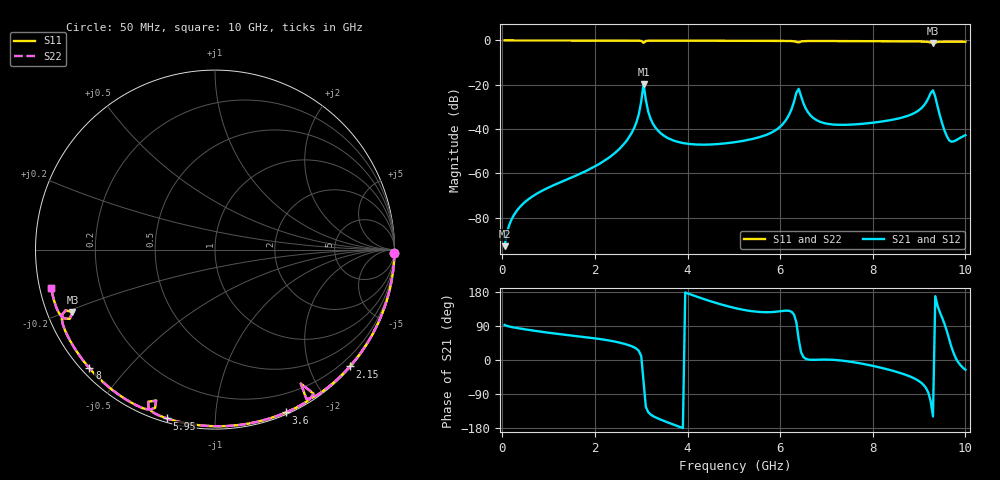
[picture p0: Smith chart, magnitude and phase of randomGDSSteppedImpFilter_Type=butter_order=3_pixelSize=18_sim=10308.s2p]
! freq	dB(S11)	phase(S11)	dB(S12)	phase(S12)
!  dB(S21)	phase(S21)	dB(S22)	phase(S22)
!S-par simulation data
#  GHz  S  DB  R 50
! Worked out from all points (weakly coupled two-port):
!   200 points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, 50 MHz to 10 GHz, reference 50 ohm
!   highest |S21| = -19.61 dB at 3.05 GHz (marker M1); lowest = -92.9 dB at 50 MHz (marker M2)
!   lowest |S11| = -1.2 dB at 9.3 GHz (marker M3), VSWR 14.06, Z = 3.71 - j10.4 ohm
!   |S11| at or under -10 dB: nowhere
!   |S22| runs from -1.2 to 0.0 dB; largest |S21 - S12| = 0
!   S11 on the Smith chart (normalised r, x): 50 MHz: open; 2.15 GHz: 0.02, -2.68; 3.6 GHz: 0.02, -1.53; 5.95 GHz: 0.02, -0.76; 8 GHz: 0.02, -0.40; 10 GHz: 0.03, -0.11
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0.05  -0.00 -1.0  -92.89 92.6  -92.89 92.6  -0.00 -1.0
0.75  -0.01 -14.5  -69.13 76.1  -69.13 76.1  -0.01 -14.5
1.75  -0.04 -33.5  -59.50 61.0  -59.50 61.0  -0.04 -33.5
2.15  -0.05 -40.9  -55.01 54.6  -55.01 54.6  -0.05 -40.9
2.8  -0.07 -53.2  -41.55 36.0  -41.55 36.0  -0.07 -53.2
2.95  -0.11 -56.6  -33.15 23.7  -33.15 23.7  -0.11 -56.6
3.05  -1.05 -57.4  -19.61 -55.1  -19.61 -55.1  -1.05 -57.4
3.2  -0.10 -58.8  -35.25 -143.5  -35.25 -143.5  -0.10 -58.8
3.4  -0.09 -62.8  -41.53 -156.3  -41.53 -156.3  -0.09 -62.8
3.6  -0.09 -66.5  -44.34 -166.0  -44.34 -166.0  -0.09 -66.5
5.05  -0.14 -91.1  -45.84 136.4  -45.84 136.4  -0.14 -91.0
5.95  -0.19 -105.8  -39.81 128.0  -39.81 128.0  -0.19 -105.8
6.2  -0.25 -110.4  -33.24 129.6  -33.24 129.6  -0.25 -110.4
6.4  -0.89 -111.3  -21.84 55.0  -21.84 55.0  -0.88 -111.3
6.7  -0.25 -116.2  -34.73 0.5  -34.73 0.5  -0.25 -116.2
7.15  -0.26 -123.5  -37.98 0.4  -37.98 0.4  -0.26 -123.5
8  -0.33 -136.7  -37.15 -15.5  -37.15 -15.5  -0.33 -136.7
8.35  -0.37 -142.1  -36.10 -25.7  -36.10 -25.7  -0.37 -142.1
9  -0.47 -152.7  -31.44 -55.8  -31.44 -55.8  -0.47 -152.7
9.3  -1.24 -156.3  -22.54 -148.9  -22.54 -148.9  -1.25 -156.3
9.65  -0.53 -160.9  -45.10 54.7  -45.10 54.7  -0.53 -160.9
10  -0.56 -166.9  -42.79 -25.7  -42.79 -25.7  -0.56 -166.9
